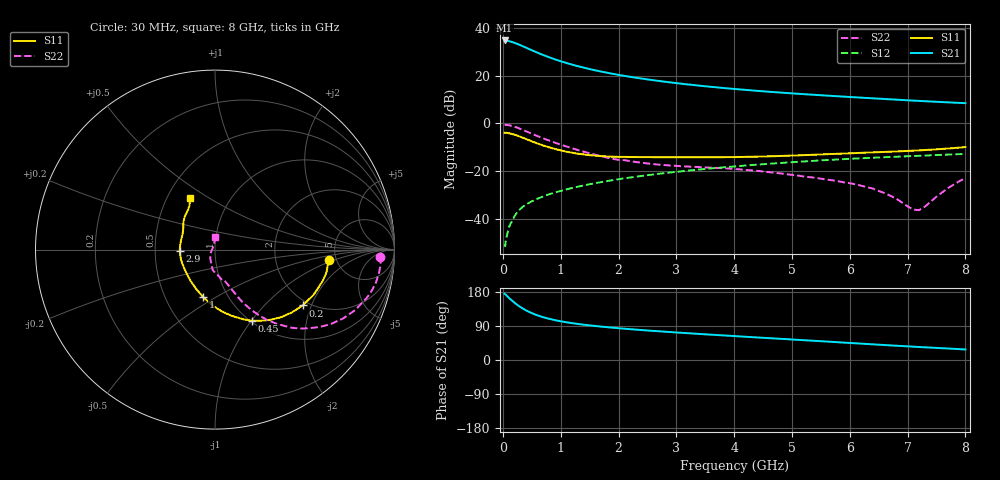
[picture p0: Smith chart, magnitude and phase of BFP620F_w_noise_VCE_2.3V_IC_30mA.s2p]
! Infineon Technologies  Discrete & RF Semiconductors
! BFP620F
! VCE =  2.3 V,  IC =  30 mA
! Common Emitter S-Parameters:  Dec 2014
# GHz  S  MA  R  50
!  f  S11  S21  S12  S22
! GHz  MAG  ANG  MAG  ANG  MAG  ANG  MAG  ANG
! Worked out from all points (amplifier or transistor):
!   95 points, 30 MHz to 8 GHz, reference 50 ohm
!   highest |S21| = 34.7 dB at 30 MHz (marker M1)
!   |S21| within 3 dB of that: start of sweep to 399.6 MHz
!   unconditionally stable (mu >= 1): 2.356 GHz to end of sweep
!   at 300 MHz: K = 0.45, MSG = 34.3 dB, |S12| = -35.9 dB
!   at 3.3 GHz: K = 1.03, MAG = 16.8 dB, |S12| = -19.5 dB
!   at 8 GHz: K = 1.06, MAG = 9.1 dB, |S12| = -12.8 dB
!   lowest NFmin = 1.13 dB at 450 MHz
!   S11 on the Smith chart (normalised r, x): 30 MHz: 4.33, -0.80; 200 MHz: 1.85, -1.74; 450 MHz: 1.02, -1.01; 1 GHz: 0.77, -0.44; 2.9 GHz: 0.67, -0.01; 8 GHz: 0.65, +0.41
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0.03  0.6353 -5.0  54.11 175.1  0.0029 53.7  0.922 -2.4
0.07  0.6332 -11.8  53.45 169.2  0.0044 69.2  0.9232 -7.8
0.11  0.6175 -18.5  52.23 163.2  0.0071 65.4  0.9093 -13.0
0.15  0.603 -24.9  50.65 157.8  0.0086 73.9  0.886 -17.9
0.2  0.5792 -32.5  48.29 151.4  0.0114 72.0  0.8501 -23.4
0.25  0.5527 -39.4  45.84 145.4  0.014 69.9  0.81 -28.3
0.3  0.5256 -45.9  43.29 140.1  0.0161 67.9  0.7666 -32.8
0.4  0.4694 -57.7  38.29 131.0  0.0199 67.1  0.6817 -40.0
0.45  0.4465 -62.6  35.98 127.2  0.0217 67.0  0.6444 -43.1
0.6  0.3782 -76.5  29.98 117.7  0.0266 65.9  0.5403 -50.1
0.7  0.3434 -84.3  26.78 112.7  0.0297 65.7  0.4845 -53.7
0.8  0.3154 -91.4  24.07 108.7  0.0329 65.4  0.436 -56.4
1  0.2721 -104.3  19.89 102.2  0.0385 65.2  0.3595 -60.7
1.4  0.2239 -126.2  14.59 93.1  0.0503 64.8  0.2557 -66.3
2  0.1987 -152.3  10.33 83.9  0.0677 63.5  0.1724 -74.6
2.7  0.1962 -173.5  7.694 75.8  0.0882 60.6  0.137 -85.6
2.9  0.1962 -178.2  7.171 73.7  0.0938 59.6  0.1312 -88.2
4.1  0.1979 158.5  5.117 62.2  0.1283 53.5  0.1091 -97.5
5.4  0.2211 143.0  3.939 50.5  0.1651 45.5  0.0727 -108.3
6.7  0.2553 129.5  3.18 38.6  0.1979 36.7  0.0307 -141.1
7.2  0.2719 123.0  2.945 34.3  0.2098 33.6  0.0153 148.2
8  0.3193 116.2  2.641 27.8  0.2293 28.2  0.0717 87.8
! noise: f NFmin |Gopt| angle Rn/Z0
0.45  1.13  0.05  -172  0.18
0.9  1.16  0.05  -171  0.14
1.5  1.18  0.12  -148  0.15
1.8  1.19  0.12  -147  0.16
1.9  1.19  0.12  -146  0.16
2.4  1.21  0.12  -146  0.17
3.5  1.27  0.14  -141  0.18
5.5  1.42  0.21  241  0.13
6  1.47  0.22  260  0.16
